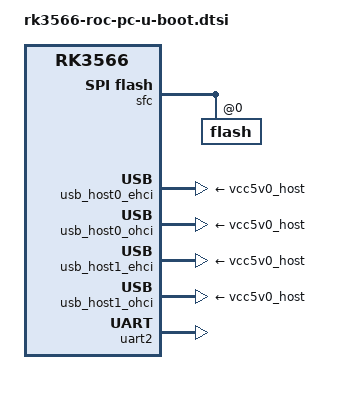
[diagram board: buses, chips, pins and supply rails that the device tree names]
// SPDX-License-Identifier: GPL-2.0+
/*
 * (C) Copyright 2021 Rockchip Electronics Co., Ltd
 */

#include "rk356x-u-boot.dtsi"

/ {
	chosen {
		stdout-path = &uart2;
		u-boot,spl-boot-order = "same-as-spl", &sdhci, &sdmmc0;
	};
};

&gmac1 {
	assigned-clocks = <&cru SCLK_GMAC1_RX_TX>, <&cru SCLK_GMAC1>;
	assigned-clock-parents = <&cru SCLK_GMAC1_RGMII_SPEED>, <&gmac1_clkin>;
	status = "disabled";
};

&saradc {
	vdd-supply = <&vcc_1v8>;
};

&sfc {
	flash@0 {
		u-boot,dm-spl;
	};
};

&usb_host0_ehci {
	vbus-supply = <&vcc5v0_host>;
};

&usb_host0_ohci {
	vbus-supply = <&vcc5v0_host>;
};

&usb_host1_ehci {
	vbus-supply = <&vcc5v0_host>;
};

&usb_host1_ohci {
	vbus-supply = <&vcc5v0_host>;
};

&uart2 {
	clock-frequency = <24000000>;
	u-boot,dm-spl;
	status = "okay";
};
